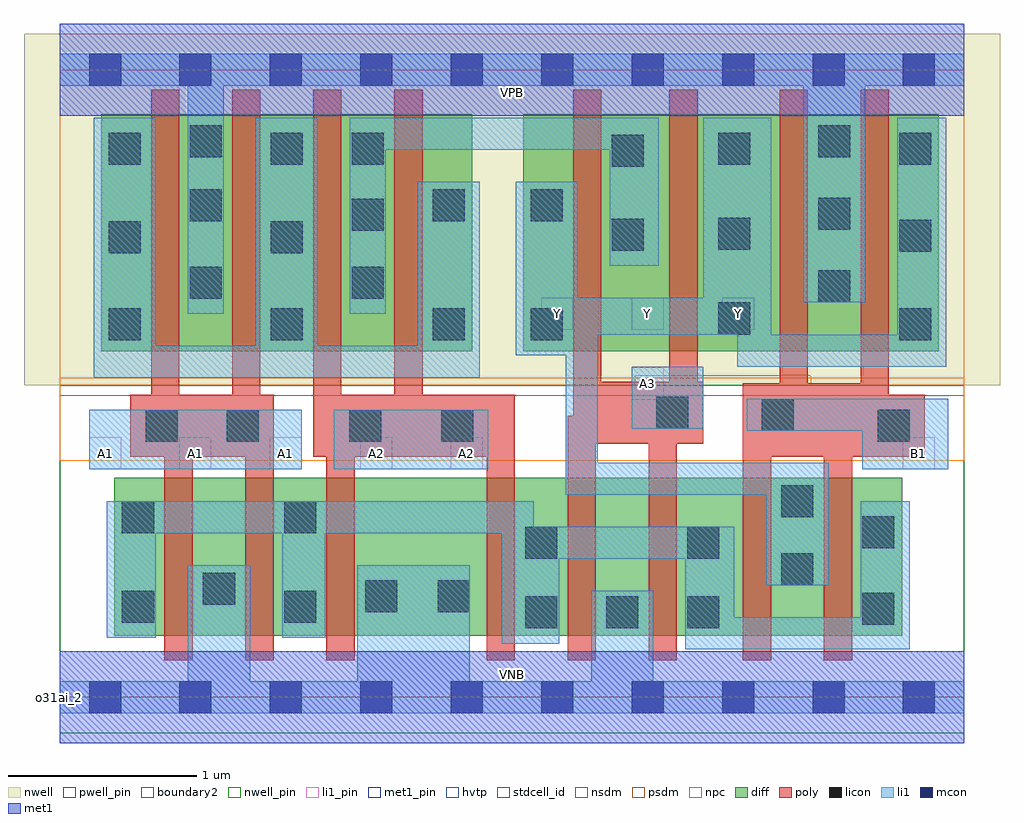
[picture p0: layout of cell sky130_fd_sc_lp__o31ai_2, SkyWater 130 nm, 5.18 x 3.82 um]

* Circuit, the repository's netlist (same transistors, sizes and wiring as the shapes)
* Copyright 2020 The SkyWater PDK Authors
*
* Licensed under the Apache License, Version 2.0 (the "License");
* you may not use this file except in compliance with the License.
* You may obtain a copy of the License at
*
*     https://www.apache.org/licenses/LICENSE-2.0
*
* Unless required by applicable law or agreed to in writing, software
* distributed under the License is distributed on an "AS IS" BASIS,
* WITHOUT WARRANTIES OR CONDITIONS OF ANY KIND, either express or implied.
* See the License for the specific language governing permissions and
* limitations under the License.
*
* SPDX-License-Identifier: Apache-2.0

.SUBCKT sky130_fd_sc_lp__o31ai_2 A1 A2 A3 B1 VGND VNB VPB VPWR Y
*.PININFO A1:I A2:I A3:I B1:I VGND:I VNB:I VPB:I VPWR:I Y:O
MMPA0 VPWR A1 sndA1 VPB sky130_fd_pr__pfet_01v8_hvt m=2 w=1.26U l=0.15U mult=1
+ sa=0.265 sb=0.265 sd=0.28 area=0.063 perim=1.14
MMPA1 sndA1 A2 sndA2 VPB sky130_fd_pr__pfet_01v8_hvt m=2 w=1.26U l=0.15U mult=1
+ sa=0.265 sb=0.265 sd=0.28 area=0.063 perim=1.14
MMPA2 sndA2 A3 Y VPB sky130_fd_pr__pfet_01v8_hvt m=2 w=1.26U l=0.15U mult=1 sa=0.265
+ sb=0.265 sd=0.28 area=0.063 perim=1.14
MMPB0 VPWR B1 Y VPB sky130_fd_pr__pfet_01v8_hvt m=2 w=1.26U l=0.15U mult=1 sa=0.265
+ sb=0.265 sd=0.28 area=0.063 perim=1.14
MMNA0 pndA A1 VGND VNB sky130_fd_pr__nfet_01v8 m=2 w=0.84U l=0.15U mult=1 sa=0.265
+ sb=0.265 sd=0.28 area=0.063 perim=1.14
MMNA1 pndA A2 VGND VNB sky130_fd_pr__nfet_01v8 m=2 w=0.84U l=0.15U mult=1 sa=0.265
+ sb=0.265 sd=0.28 area=0.063 perim=1.14
MMNA2 pndA A3 VGND VNB sky130_fd_pr__nfet_01v8 m=2 w=0.84U l=0.15U mult=1 sa=0.265
+ sb=0.265 sd=0.28 area=0.063 perim=1.14
MMNB0 Y B1 pndA VNB sky130_fd_pr__nfet_01v8 m=2 w=0.84U l=0.15U mult=1 sa=0.265
+ sb=0.265 sd=0.28 area=0.063 perim=1.14
.ENDS sky130_fd_sc_lp__o31ai_2

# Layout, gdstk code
import gdstk
lib = gdstk.Library(unit=1e-6, precision=1e-09)
def R(c, l, rs):  # rectangles x0, y0, x1, y1
    for r in rs: c.add(gdstk.rectangle(r[:2], r[2:], *l))
def A(c, l, x, y, w, h, nx, ny, dx, dy):  # array of equal rectangles
    R(c, l, [(x+i*dx, y+j*dy, x+i*dx+w, y+j*dy+h) for i in range(nx) for j in range(ny)])
def P(c, l, *ps):  # polygons
    for p in ps: c.add(gdstk.Polygon(p, *l))
nwell_pin = (64, 16)
nwell = (64, 20)
diff = (65, 20)
poly = (66, 20)
licon = (66, 44)
li1_pin = (67, 16)
li1 = (67, 20)
mcon = (67, 44)
met1_pin = (68, 16)
met1 = (68, 20)
hvtp = (78, 44)
stdcell_id = (81, 4)
nsdm = (93, 44)
psdm = (94, 20)
npc = (95, 20)
pwell_pin = (122, 16)
boundary2 = (236, 0)

sky130_fd_sc_lp__o31ai_2 = lib.new_cell('sky130_fd_sc_lp__o31ai_2')
R(sky130_fd_sc_lp__o31ai_2, nwell_pin, [(0,3.085,4.8,3.33)])
R(sky130_fd_sc_lp__o31ai_2, nwell, [(-0.19,1.655,4.99,3.52)])
R(sky130_fd_sc_lp__o31ai_2, diff, [(0.29,0.325,4.47,1.165), (0.22,1.835,2.19,3.095), (2.46,1.835,4.665,3.095)])
P(sky130_fd_sc_lp__o31ai_2, poly, [(1.135,1.605),(1.065,1.605),(1.065,3.225),(0.915,3.225),(0.915,1.605),(0.635,1.605),(0.635,3.225),(0.485,3.225),(0.485,1.605),(0.375,1.605),(0.375,1.275),(0.555,1.275),(0.555,0.195),(0.705,0.195),(0.705,1.275),(0.985,1.275),(0.985,0.195),(1.135,0.195)],
  [(2.415,1.605),(1.925,1.605),(1.925,3.225),(1.775,3.225),(1.775,1.605),(1.495,1.605),(1.495,3.225),(1.345,3.225),(1.345,1.275),(1.415,1.275),(1.415,0.195),(1.565,0.195),(1.565,1.275),(2.265,1.275),(2.265,0.195),(2.415,0.195)],
  [(3.415,1.675),(3.385,1.675),(3.385,3.225),(3.235,3.225),(3.235,1.675),(2.875,1.675),(2.875,3.225),(2.725,3.225),(2.725,1.495),(2.695,1.495),(2.695,0.195),(2.845,0.195),(2.845,1.345),(3.125,1.345),(3.125,0.195),(3.275,0.195),(3.275,1.345),(3.415,1.345)],
  [(4.59,1.605),(4.4,1.605),(4.4,3.225),(4.25,3.225),(4.25,1.665),(3.97,1.665),(3.97,3.225),(3.82,3.225),(3.82,1.665),(3.625,1.665),(3.625,0.195),(3.775,0.195),(3.775,1.275),(4.055,1.275),(4.055,0.195),(4.205,0.195),(4.205,1.275),(4.59,1.275)])
A(sky130_fd_sc_lp__o31ai_2, licon, 2.47, 0.365, 0.17, 0.17, 3, 1, 0.43, 0)
A(sky130_fd_sc_lp__o31ai_2, licon, 0.26, 1.895, 0.17, 0.17, 3, 1, 0.86, 0)
A(sky130_fd_sc_lp__o31ai_2, licon, 3.495, 1.925, 0.17, 0.17, 1, 3, 0, 0.45)
A(sky130_fd_sc_lp__o31ai_2, licon, 4.025, 2.095, 0.17, 0.17, 1, 3, 0, 0.385)
R(sky130_fd_sc_lp__o31ai_2, licon, [(4.26,0.385,4.43,0.555), (0.33,0.395,0.5,0.565), (1.19,0.395,1.36,0.565), (1.62,0.45,1.79,0.62), (2.005,0.45,2.175,0.62), (0.76,0.49,0.93,0.66), (3.83,0.595,4,0.765), (2.47,0.735,2.64,0.905), (3.33,0.735,3.5,0.905), (4.26,0.79,4.43,0.96), (0.33,0.87,0.5,1.04), (1.19,0.87,1.36,1.04), (3.83,0.955,4,1.125), (0.455,1.355,0.625,1.525), (0.885,1.355,1.055,1.525), (1.535,1.355,1.705,1.525), (2.025,1.355,2.195,1.525), (4.34,1.355,4.51,1.525), (3.725,1.415,3.895,1.585), (3.165,1.425,3.335,1.595), (2.5,1.895,2.67,2.065), (4.455,1.895,4.625,2.065), (0.69,2.115,0.86,2.285), (1.55,2.115,1.72,2.285), (0.26,2.355,0.43,2.525), (1.12,2.355,1.29,2.525), (4.455,2.365,4.625,2.535), (2.93,2.37,3.1,2.54), (1.55,2.475,1.72,2.645), (0.69,2.525,0.86,2.695), (1.98,2.525,2.15,2.695), (2.5,2.525,2.67,2.695), (2.93,2.815,3.1,2.985), (0.26,2.825,0.43,2.995), (1.12,2.825,1.29,2.995), (1.55,2.825,1.72,2.995), (4.455,2.825,4.625,2.995), (0.69,2.865,0.86,3.035)])
A(sky130_fd_sc_lp__o31ai_2, li1_pin, 0.155, 1.21, 0.17, 0.17, 5, 1, 0.48, 0)
A(sky130_fd_sc_lp__o31ai_2, li1_pin, 2.555, 1.95, 0.17, 0.17, 3, 1, 0.48, 0)
R(sky130_fd_sc_lp__o31ai_2, li1_pin, [(4.475,1.21,4.645,1.38), (3.035,1.58,3.205,1.75)])
R(sky130_fd_sc_lp__o31ai_2, li1, [(0.155,1.21,1.285,1.525), (1.455,1.21,2.275,1.525), (3.035,1.425,3.415,1.755)])
P(sky130_fd_sc_lp__o31ai_2, li1, [(3.945,2.095),(3.945,3.245),(0.87,3.245),(0.87,2.035),(0.68,2.035),(0.68,3.245),(0,3.245),(0,3.415),(4.8,3.415),(4.8,3.245),(4.275,3.245),(4.275,2.095)],
  [(1.58,0.085),(1.58,0.7),(2.175,0.7),(2.175,0.085),(2.82,0.085),(2.82,0.565),(3.15,0.565),(3.15,0.085),(4.8,0.085),(4.8,-0.085),(0,-0.085),(0,0.085),(0.68,0.085),(0.68,0.7),(1.01,0.7),(1.01,0.085)],
  [(3.595,1.755),(3.595,1.925),(2.855,1.925),(2.855,1.245),(4.08,1.245),(4.08,0.595),(3.75,0.595),(3.75,1.075),(2.685,1.075),(2.685,1.815),(2.42,1.815),(2.42,2.735),(2.75,2.735),(2.75,2.12),(3.415,2.12),(3.415,3.075),(3.775,3.075),(3.775,1.925),(4.445,1.925),(4.445,3.075),(4.705,3.075),(4.705,1.755)],
  [(2.92,2.905),(1.73,2.905),(1.73,2.035),(1.54,2.035),(1.54,3.075),(3.18,3.075),(3.18,2.29),(2.92,2.29)],
  [(1.37,1.865),(1.9,1.865),(1.9,2.735),(2.23,2.735),(2.23,1.695),(0.18,1.695),(0.18,3.075),(0.51,3.075),(0.51,1.865),(1.04,1.865),(1.04,3.075),(1.37,3.075)],
  [(3.58,0.425),(4.25,0.425),(4.25,1.04),(4.51,1.04),(4.51,0.255),(3.32,0.255),(3.32,0.735),(2.65,0.735),(2.65,0.285),(2.345,0.285),(2.345,0.87),(1.41,0.87),(1.41,0.315),(1.18,0.315),(1.18,0.87),(0.51,0.87),(0.51,0.315),(0.25,0.315),(0.25,1.04),(2.515,1.04),(2.515,0.905),(3.58,0.905)],
  [(4.715,1.585),(3.645,1.585),(3.645,1.415),(4.26,1.415),(4.26,1.21),(4.715,1.21)])
A(sky130_fd_sc_lp__o31ai_2, mcon, 0.155, -0.085, 0.17, 0.17, 10, 2, 0.48, 3.33)
R(sky130_fd_sc_lp__o31ai_2, met1_pin, [(0,0,4.8,0.245), (0,3.085,4.8,3.33)])
R(sky130_fd_sc_lp__o31ai_2, met1, [(0,-0.245,4.8,0.245), (0,3.085,4.8,3.575)])
R(sky130_fd_sc_lp__o31ai_2, hvtp, [(0,1.6,4.8,3.33)])
R(sky130_fd_sc_lp__o31ai_2, stdcell_id, [(0,0,4.8,3.33)])
R(sky130_fd_sc_lp__o31ai_2, nsdm, [(0,-0.19,4.8,1.655)])
P(sky130_fd_sc_lp__o31ai_2, psdm, [(4.8,3.52),(0,3.52),(0,1.655),(3.055,1.655),(3.055,1.705),(3.985,1.705),(3.985,1.655),(4.8,1.655)])
R(sky130_fd_sc_lp__o31ai_2, npc, [(0,1.255,4.8,1.695)])
R(sky130_fd_sc_lp__o31ai_2, pwell_pin, [(0,0,4.8,0.245)])
R(sky130_fd_sc_lp__o31ai_2, boundary2, [(0,0,4.8,3.33)])
sky130_fd_sc_lp__o31ai_2.add(gdstk.Label('VNB', (2.4,0.123), layer=64, texttype=59))
sky130_fd_sc_lp__o31ai_2.add(gdstk.Label('VPB', (2.4,3.208), layer=64, texttype=5))
sky130_fd_sc_lp__o31ai_2.add(gdstk.Label('o31ai_2', (0,0), layer=83, texttype=44))
sky130_fd_sc_lp__o31ai_2.add(gdstk.Label('VPWR', (2.4,3.208), layer=68, texttype=5))
sky130_fd_sc_lp__o31ai_2.add(gdstk.Label('VGND', (2.4,0.123), layer=68, texttype=5))
sky130_fd_sc_lp__o31ai_2.add(gdstk.Label('Y', (2.64,2.035), layer=67, texttype=5))
sky130_fd_sc_lp__o31ai_2.add(gdstk.Label('Y', (3.12,2.035), layer=67, texttype=5))
sky130_fd_sc_lp__o31ai_2.add(gdstk.Label('Y', (3.6,2.035), layer=67, texttype=5))
sky130_fd_sc_lp__o31ai_2.add(gdstk.Label('A1', (0.24,1.295), layer=67, texttype=5))
sky130_fd_sc_lp__o31ai_2.add(gdstk.Label('A1', (0.72,1.295), layer=67, texttype=5))
sky130_fd_sc_lp__o31ai_2.add(gdstk.Label('A1', (1.2,1.295), layer=67, texttype=5))
sky130_fd_sc_lp__o31ai_2.add(gdstk.Label('A2', (2.16,1.295), layer=67, texttype=5))
sky130_fd_sc_lp__o31ai_2.add(gdstk.Label('A3', (3.12,1.665), layer=67, texttype=5))
sky130_fd_sc_lp__o31ai_2.add(gdstk.Label('B1', (4.56,1.295), layer=67, texttype=5))
sky130_fd_sc_lp__o31ai_2.add(gdstk.Label('A2', (1.68,1.295), layer=67, texttype=5))

lib.write_gds('sky130_fd_sc_lp__o31ai_2.gds')
